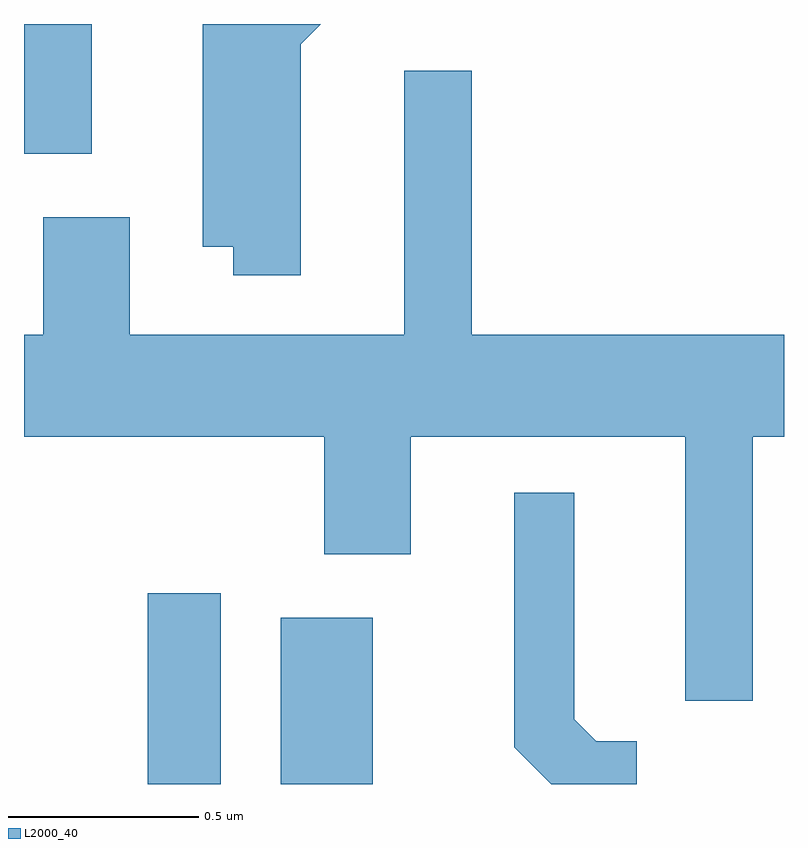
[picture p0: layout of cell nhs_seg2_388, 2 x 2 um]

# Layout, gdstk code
import gdstk
lib = gdstk.Library(unit=1e-6, precision=1e-09)
def R(c, l, rs):  # rectangles x0, y0, x1, y1
    for r in rs: c.add(gdstk.rectangle(r[:2], r[2:], *l))
def P(c, l, *ps):  # polygons
    for p in ps: c.add(gdstk.Polygon(p, *l))
L2000_40 = (2000, 40)

nhs_seg2_388 = lib.new_cell('nhs_seg2_388')
R(nhs_seg2_388, L2000_40, [(187.936,1091.802,188.129,1092.304), (188.286,1091.802,188.529,1092.239), (187.611,1093.461,187.789,1093.802)])
P(nhs_seg2_388, L2000_40, [(188.339,1093.749),(188.392,1093.802),(188.081,1093.802),(188.081,1093.216),(188.161,1093.216),(188.161,1093.141),(188.339,1093.141)],
  [(189.529,1092.716),(189.611,1092.716),(189.611,1092.984),(188.789,1092.984),(188.789,1093.679),(188.611,1093.679),(188.611,1092.984),(187.889,1092.984),(187.889,1093.294),(187.661,1093.294),(187.661,1092.984),(187.611,1092.984),(187.611,1092.716),(188.401,1092.716),(188.401,1092.406),(188.629,1092.406),(188.629,1092.716),(189.351,1092.716),(189.351,1092.021),(189.529,1092.021)],
  [(189.224,1091.914),(189.117,1091.914),(189.059,1091.972),(189.059,1092.568),(188.901,1092.568),(188.901,1091.899),(188.998,1091.802),(189.224,1091.802)])

lib.write_gds('nhs_seg2_388.gds')
